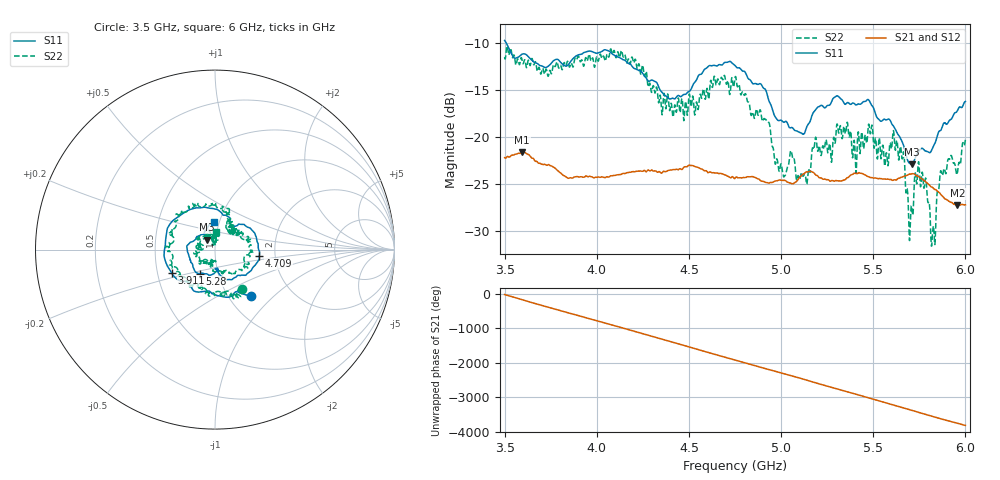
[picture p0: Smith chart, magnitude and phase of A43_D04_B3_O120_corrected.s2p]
! Created with skrf 1.9.0 (http://scikit-rf.org).
# Hz S RI R 50.0
!freq ReS11 ImS11 ReS21 ImS21 ReS12 ImS12 ReS22 ImS22
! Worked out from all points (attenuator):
!   1601 points, 3.5 GHz to 6 GHz, reference 50 ohm
!   highest |S21| = -21.62 dB at 3.595 GHz (marker M1); lowest = -27.3 dB at 5.956 GHz (marker M2)
!   lowest |S11| = -22.9 dB at 5.711 GHz (marker M3), VSWR 1.15, Z = 45.3 + j4.96 ohm
!   |S11| at or under -10 dB: 3.508 GHz to end of sweep
!   |S22| runs from -31.6 to -10.4 dB; largest |S21 - S12| = 0.001
!   S11 on the Smith chart (normalised r, x): 3.5 GHz: 1.27, -0.73; 3.911 GHz: 0.59, -0.17; 4.709 GHz: 1.65, -0.12; 5.28 GHz: 0.82, -0.22; 6 GHz: 0.94, +0.30
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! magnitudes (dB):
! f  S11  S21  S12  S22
! 3.5 GHz  -9.7  -22.2  -22.2  -11.5
! 3.595 GHz  -11.2  -21.6  -21.6  -11.9
! 3.911 GHz  -11.2  -24.2  -24.2  -12.0
! 3.917 GHz  -11.2  -24.2  -24.2  -11.8
! 4.142 GHz  -11.8  -23.9  -23.8  -11.4
! 4.334 GHz  -14.6  -23.7  -23.6  -16.3
! 4.709 GHz  -12.1  -24.2  -24.1  -14.1
! 4.75 GHz  -12.4  -24.4  -24.3  -13.8
! 4.928 GHz  -15.7  -24.9  -24.8  -18.4
! 5.016 GHz  -18.4  -24.6  -24.5  -24.2
! 5.167 GHz  -17.7  -23.7  -23.7  -21.5
! 5.28 GHz  -16.0  -24.6  -24.5  -21.0
! 5.484 GHz  -16.4  -24.3  -24.2  -19.7
! 5.584 GHz  -18.1  -24.5  -24.4  -22.2
! 5.656 GHz  -20.5  -24.2  -24.1  -22.3
! 5.689 GHz  -22.6  -24.0  -23.9  -26.7
! 5.711 GHz  -22.9  -23.9  -23.8  -27.8
! 5.755 GHz  -21.3  -24.3  -24.3  -25.0
! 5.825 GHz  -21.0  -25.4  -25.4  -29.6
! 5.872 GHz  -19.1  -26.2  -26.1  -23.9
! 5.956 GHz  -17.2  -27.3  -27.2  -23.8
! 6 GHz  -16.2  -27.2  -27.1  -20.3
